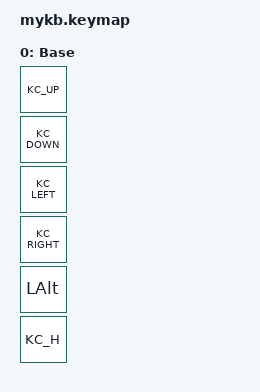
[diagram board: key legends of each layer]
/ {
    compatible = "zmk,keymap";
    keymap_0: keymap‑0 {
        label = "Base";
        bindings = <
            &kp KC_UP     // reg0 P0.17 上箭头
            &kp KC_DOWN   // reg1 P0.20 下箭头
            &kp KC_LEFT   // reg2 P0.31 左箭头
            &kp KC_RIGHT  // reg3 P0.29 右箭头
            &kp LALT      // reg4 P0.24 左Alt
            &kp KC_H      // reg5 P1.00 H键
        >;
    };
};

